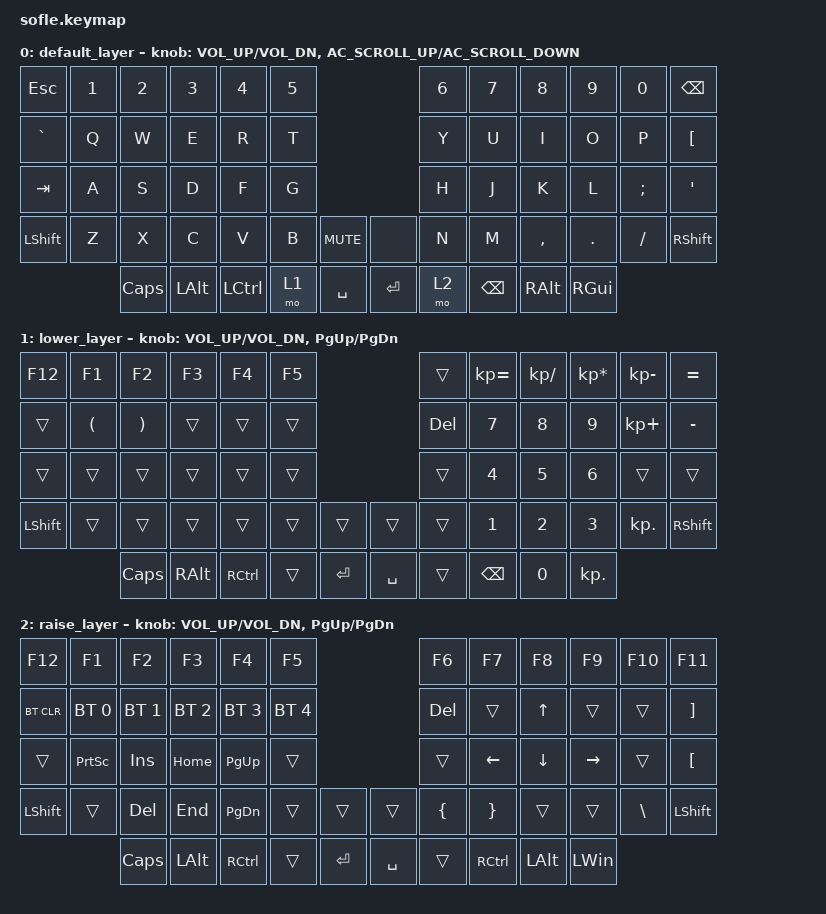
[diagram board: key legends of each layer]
/*
 * Copyright (c) 2020 The ZMK Contributors
 *
 * SPDX-License-Identifier: MIT
 */

#include <behaviors.dtsi>
#include <dt-bindings/zmk/keys.h>
#include <dt-bindings/zmk/bt.h>

/ {
    keymap {
        compatible = "zmk,keymap";

        default_layer {
// ------------------------------------------------------------------------------------------------------------
// |  ESC  |  1  |  2  |  3   |  4   |  5   |                   |  6   |  7    |  8    |  9   |   0   | BKSPC |
// |  ~    |  Q  |  W  |  E   |  R   |  T   |                   |  Y   |  U    |  I    |  O   |   P   |    {  |
// |  TAB  |  A  |  S  |  D   |  F   |  G   |                   |  H   |  J    |  K    |  L   |   ;   |   '   |
// | SHIFT |  Z  |  X  |  C   |  V   |  B   |  MUTE  |  |       |  N   |  M    |  ,    |  .   |   /   | SHIFT |
//               | CLCK| ALT  | CTRL | LOWER|  SPACE |  | ENTER | RAISE| BKSPC | ALT   | GUI  |
            bindings = <
&kp ESC   &kp N1 &kp N2   &kp N3   &kp N4    &kp N5                        &kp N6 &kp N7    &kp N8    &kp N9   &kp N0   &kp BSPC
&kp GRAVE &kp Q  &kp W    &kp E    &kp R     &kp T                         &kp Y  &kp U     &kp I     &kp O    &kp P    &kp LBKT
&kp TAB   &kp A  &kp S    &kp D    &kp F     &kp G                         &kp H  &kp J     &kp K     &kp L    &kp SEMI &kp SQT
&kp LSHFT &kp Z  &kp X    &kp C    &kp V     &kp B  &kp C_MUTE   &none     &kp N  &kp M     &kp COMMA &kp DOT  &kp FSLH &kp RSHFT
                 &kp CLCK &kp LALT &kp LCTRL &mo 1  &kp SPACE    &kp RET   &mo 2  &kp BSPC  &kp RALT  &kp RGUI
            >;

            sensor-bindings = <&inc_dec_kp C_VOL_UP C_VOL_DN &inc_dec_kp C_AC_SCROLL_UP C_AC_SCROLL_DOWN>;
        };

        lower_layer {
// TODO: Some binds are waiting for shifted keycode support.
// ------------------------------------------------------------------------------------------------------------
// |   F12 |  F1 |  F2 |  F3  |  F4  |  F5  |                   |       |   =   |  /    |  *   |   -   |   =+  |
// |       |  (  |  )  |      |      |      |                   |  Del  |   7   |   8   |  9   |   +   |   -_  |
// |       |     |     |      |      |      |                   |       |   4   |   5   |  6   |       |       |
// | SHIFT |     |     |      |      |      |        |  |       |       |   1   |   2   |  3   |   .   | SHIFT |
//               | CAPS| RAlt | RCtrl|      | Enter  |  | Space |       | BKSPC |   0   |  ,   |
            bindings = <
&kp F12    &kp F1    &kp F2    &kp F3      &kp F4    &kp F5                            &trans    &kp KP_EQUAL &kp KP_SLASH &kp KP_ASTERISK &kp KP_MINUS   &kp EQUAL
&trans     &kp LPAR  &kp RPAR  &trans      &trans    &trans                            &kp DEL   &kp N7       &kp N8       &kp N9          &kp KP_PLUS    &kp MINUS
&trans     &trans    &trans    &trans      &trans    &trans                            &trans    &kp N4       &kp N5       &kp N6          &trans         &trans
&kp LSHFT  &trans    &trans    &trans      &trans    &trans     &trans     &trans      &trans    &kp N1       &kp N2       &kp N3          &kp KP_DOT     &kp RSHFT
                     &kp CLCK  &kp RALT    &kp RCTRL &trans     &kp RET    &kp SPACE   &trans    &kp BSPC     &kp N0       &kp KP_DOT
            >;

            sensor-bindings = <&inc_dec_kp C_VOL_UP C_VOL_DN &inc_dec_kp PG_UP PG_DN>;
        };

        raise_layer {
// ------------------------------------------------------------------------------------------------------------
// | F12 |   F1 |  F2  |  F3   |  F4   |  F5  |                |  F6  |  F7  |  F8   |  F9  |  F10  |  F11  |
// |     |      |      |       |       |      |                | Del  |      |   ^   |      |       |  } ]  |
// |     | PrtSc| Ins  |  Home | PgUp  |      |                |      |   <- |   v   |  ->  |       | { [   |
// |LShit|      | Del  |  End  | PgDn  |      |      |  |      |   {  |  }   |       |      | | \   | LShft |
//              | CAPS |  LAlt | RCtl  |      |Enter |  | Space|      | RCtrl| LAlt  | LWin |
            bindings = <
&kp F12    &kp F1       &kp F2       &kp F3       &kp F4       &kp F5                                &kp F6    &kp F7    &kp F8     &kp F9          &kp F10      &kp F11
&bt BT_CLR &bt BT_SEL 0 &bt BT_SEL 1 &bt BT_SEL 2 &bt BT_SEL 3 &bt BT_SEL 4                          &kp DEL   &trans    &kp UP     &trans          &trans       &kp RBKT
&trans     &kp PSCRN    &kp INS      &kp HOME     &kp PG_UP    &trans                                &trans    &kp LEFT  &kp DOWN   &kp RIGHT       &trans       &kp LBKT
&kp LSHFT  &trans       &kp DEL      &kp END      &kp PG_DN    &trans        &trans      &trans      &kp LBRC  &kp RBRC  &trans     &trans          &kp BSLH     &kp LSHFT 
                        &kp CLCK     &kp LALT     &kp RCTRL    &trans        &kp RET     &kp SPACE   &trans    &kp RCTRL &kp LALT   &kp LWIN
            >;

            sensor-bindings = <&inc_dec_kp C_VOL_UP C_VOL_DN &inc_dec_kp PG_UP PG_DN>;
        };
    };
};
